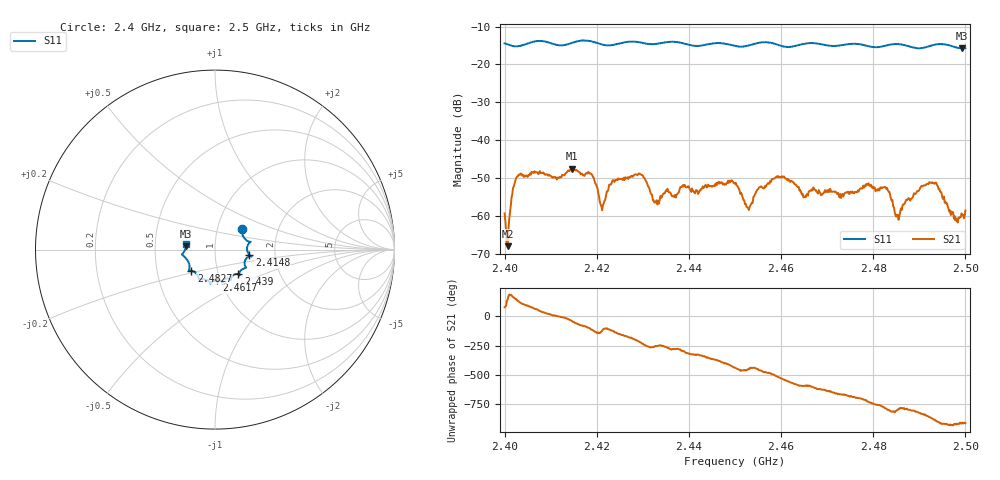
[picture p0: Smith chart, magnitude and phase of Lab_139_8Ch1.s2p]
# Hz S RI R 50
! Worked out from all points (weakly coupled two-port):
!   601 points, 2.4 GHz to 2.5 GHz, reference 50 ohm
!   highest |S21| = -47.43 dB at 2.4147 GHz (marker M1); lowest = -67.9 dB at 2.4007 GHz (marker M2)
!   lowest |S11| = -15.8 dB at 2.4993 GHz (marker M3), VSWR 1.39, Z = 36 + j1.42 ohm
!   |S11| at or under -10 dB: start of sweep to end of sweep
!   S12 and S22 are empty: the file has one direction only
!   S11 on the Smith chart (normalised r, x): 2.4 GHz: 1.31, +0.31; 2.4148 GHz: 1.47, -0.09; 2.439 GHz: 1.24, -0.35; 2.4617 GHz: 0.96, -0.34; 2.4827 GHz: 0.75, -0.18; 2.5 GHz: 0.72, +0.05
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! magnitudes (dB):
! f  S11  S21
! 2.4 GHz  -14.4  -59.2
! 2.4007 GHz  -14.7  -67.9
! 2.403 GHz  -15.2  -49.1
! 2.4147 GHz  -14.3  -47.4
! 2.4148 GHz  -14.2  -47.7
! 2.4167 GHz  -13.7  -48.8
! 2.419 GHz  -14.0  -49.0
! 2.4212 GHz  -14.7  -58.4
! 2.4232 GHz  -14.9  -51.5
! 2.4288 GHz  -14.1  -49.2
! 2.4333 GHz  -14.5  -55.9
! 2.439 GHz  -14.5  -51.7
! 2.45 GHz  -15.1  -51.4
! 2.453 GHz  -15.0  -58.4
! 2.4617 GHz  -15.4  -50.6
! 2.4667 GHz  -14.4  -52.9
! 2.4827 GHz  -15.0  -52.3
! 2.4833 GHz  -14.9  -53.5
! 2.4853 GHz  -14.6  -59.7
! 2.4932 GHz  -14.8  -51.2
! 2.4993 GHz  -15.8  -59.7
! 2.5 GHz  -15.7  -58.5
